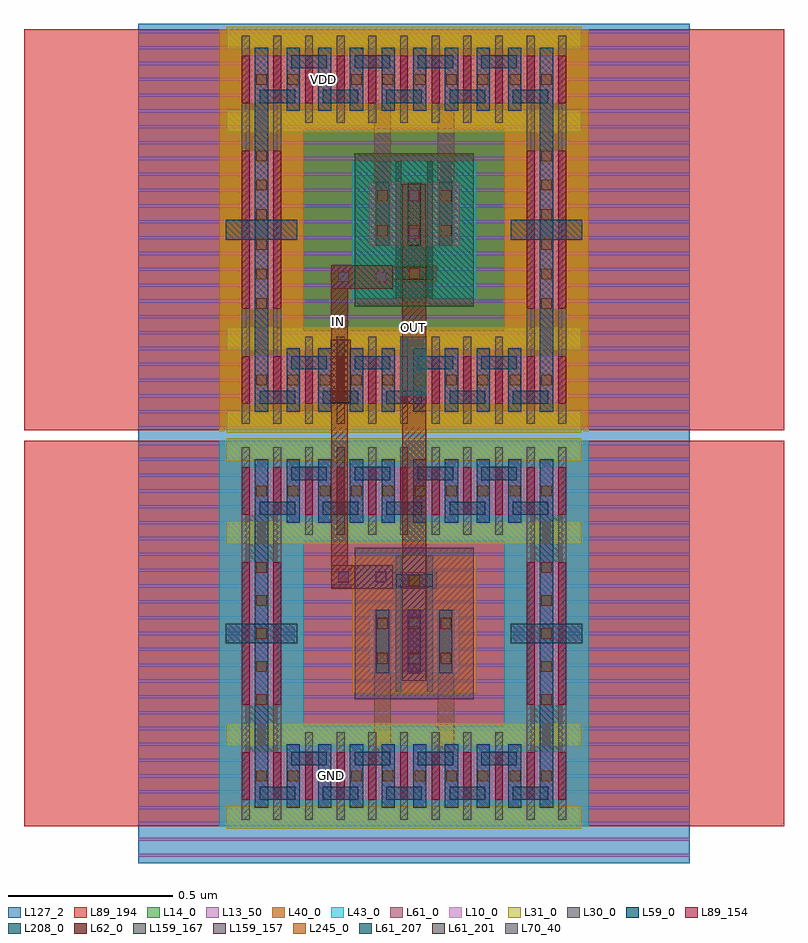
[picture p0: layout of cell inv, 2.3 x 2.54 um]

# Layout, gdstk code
from math import pi, radians
import gdstk
lib = gdstk.Library(unit=1e-6, precision=1e-09)
def R(c, l, rs):  # rectangles x0, y0, x1, y1
    for r in rs: c.add(gdstk.rectangle(r[:2], r[2:], *l))
def A(c, l, x, y, w, h, nx, ny, dx, dy):  # array of equal rectangles
    R(c, l, [(x+i*dx, y+j*dy, x+i*dx+w, y+j*dy+h) for i in range(nx) for j in range(ny)])
L10_0 = (10, 0)
L13_50 = (13, 50)
L14_0 = (14, 0)
L30_0 = (30, 0)
L31_0 = (31, 0)
L40_0 = (40, 0)
L43_0 = (43, 0)
L59_0 = (59, 0)
L61_0 = (61, 0)
L61_201 = (61, 201)
L61_207 = (61, 207)
L62_0 = (62, 0)
L70_40 = (70, 40)
L89_154 = (89, 154)
L89_194 = (89, 194)
L127_2 = (127, 2)
L159_157 = (159, 157)
L159_167 = (159, 167)
L208_0 = (208, 0)
L245_0 = (245, 0)

ngr_cdns_560242955920 = lib.new_cell('NGR_CDNS_560242955920')
R(ngr_cdns_560242955920, L10_0, [(0.768,-0.024,1.728,0.12), (0.768,0.264,0.864,0.744), (1.632,0.264,1.728,0.744), (0.768,0.888,1.728,1.032)])
A(ngr_cdns_560242955920, L13_50, 0.556, -0.101, 0.52, 0.01, 1, 26, 0, 0.048)
A(ngr_cdns_560242955920, L13_50, 0.688, -0.101, 1.12, 0.01, 1, 7, 0, 0.048)
A(ngr_cdns_560242955920, L13_50, 1.42, -0.101, 0.52, 0.01, 1, 26, 0, 0.048)
A(ngr_cdns_560242955920, L13_50, 0.688, 0.811, 1.12, 0.01, 1, 7, 0, 0.048)
R(ngr_cdns_560242955920, L14_0, [(0.688,-0.104,1.808,0.2), (0.688,-0.104,0.944,1.112), (1.552,-0.104,1.808,1.112), (0.688,0.808,1.808,1.112)])
A(ngr_cdns_560242955920, L30_0, 0.756, -0.084, 0.024, 0.264, 11, 2, 0.096, 0.912)
R(ngr_cdns_560242955920, L30_0, [(0.756,-0.024,0.78,1.032), (0.852,-0.024,0.876,1.032), (1.62,-0.024,1.644,1.032), (1.716,-0.024,1.74,1.032), (0.756,0.204,0.78,0.804), (0.852,0.204,0.876,0.804), (1.62,0.204,1.644,0.804), (1.716,0.204,1.74,0.804)])
R(ngr_cdns_560242955920, L31_0, [(0.711,-0.112,1.785,-0.044), (0.711,-0.112,0.921,-0.044), (1.575,-0.112,1.785,-0.044), (0.711,0.14,1.785,0.208), (0.711,0.8,1.785,0.868), (0.711,1.052,1.785,1.12), (0.711,1.052,0.921,1.12), (1.575,1.052,1.785,1.12)])
R(ngr_cdns_560242955920, L40_0, [(0.688,-0.104,1.808,0.2), (0.688,-0.104,0.944,1.112), (1.552,-0.104,1.808,1.112), (0.688,0.808,1.808,1.112)])
A(ngr_cdns_560242955920, L59_0, 0.796, -0.048, 0.04, 0.192, 10, 2, 0.096, 0.912)
R(ngr_cdns_560242955920, L59_0, [(0.796,-0.048,0.836,1.056), (1.66,-0.048,1.7,1.056)])
R(ngr_cdns_560242955920, L61_0, [(0.768,-0.024,1.728,0.12), (0.768,-0.024,0.864,1.032), (1.632,-0.024,1.728,1.032), (0.768,0.888,1.728,1.032)])
A(ngr_cdns_560242955920, L89_154, 0.756, -0.024, 0.024, 0.144, 11, 2, 0.096, 0.912)
R(ngr_cdns_560242955920, L89_154, [(0.756,0.264,0.78,0.744), (0.852,0.264,0.876,0.744), (1.62,0.264,1.644,0.744), (1.716,0.264,1.74,0.744)])
R(ngr_cdns_560242955920, L89_194, [(0.096,-0.104,1.536,1.112), (0.688,-0.104,1.808,0.2), (0.96,-0.104,2.4,1.112), (0.688,0.808,1.808,1.112)])
R(ngr_cdns_560242955920, L127_2, [(0.556,-0.12,1.076,1.128), (0.688,-0.12,1.808,0.216), (1.42,-0.12,1.94,1.128), (0.688,0.792,1.808,1.128)])
A(ngr_cdns_560242955920, L208_0, 0.81, -0.024, 0.108, 0.04, 5, 2, 0.192, 0.912)
A(ngr_cdns_560242955920, L208_0, 0.906, 0.081, 0.108, 0.04, 4, 2, 0.192, 0.912)
R(ngr_cdns_560242955920, L208_0, [(0.708,0.474,0.924,0.534), (1.572,0.474,1.788,0.534)])
A(ngr_cdns_560242955920, L245_0, 0.8, 0.032, 0.032, 0.032, 10, 2, 0.096, 0.912)
A(ngr_cdns_560242955920, L245_0, 0.8, 0.264, 0.032, 0.032, 1, 4, 0, 0.09)
A(ngr_cdns_560242955920, L245_0, 1.664, 0.264, 0.032, 0.032, 1, 4, 0, 0.09)
R(ngr_cdns_560242955920, L245_0, [(0.8,0.623,0.832,0.655), (1.664,0.623,1.696,0.655), (0.8,0.712,0.832,0.744), (1.664,0.712,1.696,0.744)])

n08_ckt_cdns_56024295592 = lib.new_cell('n08_ckt_CDNS_560242955921')
A(n08_ckt_cdns_56024295592, L10_0, -0.08, 0, 0.08, 0.192, 3, 1, 0.096, 0)
R(n08_ckt_cdns_56024295592, L10_0, [(0,0,0.016,0.192), (0.096,0,0.112,0.192)])
A(n08_ckt_cdns_56024295592, L13_50, -0.78, -0.125, 1.672, 0.01, 1, 12, 0, 0.048)
R(n08_ckt_cdns_56024295592, L30_0, [(0,-0.056,0.016,0), (0.096,-0.056,0.112,0), (0,0,0.016,0.192), (0.096,0,0.112,0.192), (0,0.192,0.016,0.356), (0.096,0.192,0.112,0.356)])
R(n08_ckt_cdns_56024295592, L40_0, [(-0.132,-0.061,0.244,0.356)])
A(n08_ckt_cdns_56024295592, L59_0, -0.06, 0, 0.04, 0.192, 3, 1, 0.096, 0)
A(n08_ckt_cdns_56024295592, L61_0, -0.065, 0.004, 0.05, 0.188, 3, 1, 0.096, 0)
R(n08_ckt_cdns_56024295592, L61_0, [(-0.013,0.255,0.125,0.305)])
R(n08_ckt_cdns_56024295592, L89_194, [(-0.752,-0.056,0.864,0.356)])
R(n08_ckt_cdns_56024295592, L127_2, [(-0.78,-0.144,0.892,0.432)])
R(n08_ckt_cdns_56024295592, L159_157, [(-0.125,-0.08,0.237,0.38)])
R(n08_ckt_cdns_56024295592, L208_0, [(0,0.26,0.112,0.3)])
A(n08_ckt_cdns_56024295592, L245_0, -0.056, 0.029, 0.032, 0.032, 3, 2, 0.096, 0.106)
R(n08_ckt_cdns_56024295592, L245_0, [(0.04,0.264,0.072,0.296)])
n08_ckt_cdns_56024295592.add(gdstk.Label('& Metric 1.0', (0,0), layer=63, texttype=63))
n08_ckt_cdns_56024295592.add(gdstk.Label('& SMIC 14nm Nand Flash 0.8/1.8V Cadence PDK(ON9A)', (0,0.002), layer=63, texttype=63))
n08_ckt_cdns_56024295592.add(gdstk.Label('& Vendor "Semiconductor manufacturing International Corporation."', (0,0.004), layer=63, texttype=63))

p08_ckt_cdns_56024295592 = lib.new_cell('p08_ckt_CDNS_560242955922')
A(p08_ckt_cdns_56024295592, L10_0, -0.08, 0, 0.08, 0.192, 3, 1, 0.096, 0)
R(p08_ckt_cdns_56024295592, L10_0, [(0,0,0.016,0.192), (0.096,0,0.112,0.192)])
A(p08_ckt_cdns_56024295592, L13_50, -0.78, -0.413, 1.672, 0.01, 1, 22, 0, 0.048)
R(p08_ckt_cdns_56024295592, L14_0, [(-0.384,-0.361,0.496,0.553)])
R(p08_ckt_cdns_56024295592, L30_0, [(0,-0.16,0.016,0), (0.096,-0.16,0.112,0), (0,0,0.016,0.192), (0.096,0,0.112,0.192), (0,0.192,0.016,0.256), (0.096,0.192,0.112,0.256)])
R(p08_ckt_cdns_56024295592, L43_0, [(-0.132,-0.16,0.244,0.256)])
A(p08_ckt_cdns_56024295592, L59_0, -0.06, 0, 0.04, 0.192, 3, 1, 0.096, 0)
A(p08_ckt_cdns_56024295592, L61_0, -0.065, 0.004, 0.05, 0.188, 3, 1, 0.096, 0)
R(p08_ckt_cdns_56024295592, L61_0, [(-0.013,-0.109,0.125,-0.059)])
R(p08_ckt_cdns_56024295592, L89_194, [(-0.752,-0.16,0.864,0.256)])
R(p08_ckt_cdns_56024295592, L127_2, [(-0.78,-0.432,0.892,0.624)])
R(p08_ckt_cdns_56024295592, L159_167, [(-0.125,-0.184,0.237,0.28)])
R(p08_ckt_cdns_56024295592, L208_0, [(0,-0.104,0.112,-0.064)])
A(p08_ckt_cdns_56024295592, L245_0, -0.056, 0.029, 0.032, 0.032, 3, 2, 0.096, 0.106)
R(p08_ckt_cdns_56024295592, L245_0, [(0.04,-0.1,0.072,-0.068)])
p08_ckt_cdns_56024295592.add(gdstk.Label('& Metric 1.0', (0,0), layer=63, texttype=63))
p08_ckt_cdns_56024295592.add(gdstk.Label('& SMIC 14nm Nand Flash 0.8/1.8V Cadence PDK(ON9A)', (0,0.002), layer=63, texttype=63))
p08_ckt_cdns_56024295592.add(gdstk.Label('& Vendor "Semiconductor manufacturing International Corporation."', (0,0.004), layer=63, texttype=63))

pgr_cdns_560242955923 = lib.new_cell('PGR_CDNS_560242955923')
R(pgr_cdns_560242955923, L10_0, [(0,-0.024,0.96,0.12), (0,0.264,0.096,0.696), (0.864,0.264,0.96,0.696), (0,0.84,0.96,0.984)])
A(pgr_cdns_560242955923, L13_50, -0.212, -0.101, 0.52, 0.01, 1, 25, 0, 0.048)
A(pgr_cdns_560242955923, L13_50, -0.08, -0.101, 1.12, 0.01, 1, 7, 0, 0.048)
A(pgr_cdns_560242955923, L13_50, 0.652, -0.101, 0.52, 0.01, 1, 25, 0, 0.048)
A(pgr_cdns_560242955923, L13_50, -0.08, 0.763, 1.12, 0.01, 1, 7, 0, 0.048)
A(pgr_cdns_560242955923, L30_0, -0.012, -0.084, 0.024, 0.264, 11, 2, 0.096, 0.864)
R(pgr_cdns_560242955923, L30_0, [(-0.012,-0.024,0.012,0.984), (0.084,-0.024,0.108,0.984), (0.852,-0.024,0.876,0.984), (0.948,-0.024,0.972,0.984), (-0.012,0.204,0.012,0.756), (0.084,0.204,0.108,0.756), (0.852,0.204,0.876,0.756), (0.948,0.204,0.972,0.756)])
R(pgr_cdns_560242955923, L31_0, [(-0.057,-0.112,1.017,-0.044), (-0.057,-0.112,0.153,-0.044), (0.807,-0.112,1.017,-0.044), (-0.057,0.14,1.017,0.208), (-0.057,0.752,1.017,0.82), (-0.057,1.004,1.017,1.072), (-0.057,1.004,0.153,1.072), (0.807,1.004,1.017,1.072)])
R(pgr_cdns_560242955923, L43_0, [(-0.08,-0.104,1.04,0.2), (-0.08,-0.104,0.176,1.064), (0.784,-0.104,1.04,1.064), (-0.08,0.76,1.04,1.064)])
A(pgr_cdns_560242955923, L59_0, 0.028, -0.048, 0.04, 0.192, 10, 2, 0.096, 0.864)
R(pgr_cdns_560242955923, L59_0, [(0.028,-0.048,0.068,1.008), (0.892,-0.048,0.932,1.008)])
R(pgr_cdns_560242955923, L61_0, [(0,-0.024,0.96,0.12), (0,-0.024,0.096,0.984), (0.864,-0.024,0.96,0.984), (0,0.84,0.96,0.984)])
A(pgr_cdns_560242955923, L89_154, -0.012, -0.024, 0.024, 0.144, 11, 2, 0.096, 0.864)
R(pgr_cdns_560242955923, L89_154, [(-0.012,0.264,0.012,0.696), (0.084,0.264,0.108,0.696), (0.852,0.264,0.876,0.696), (0.948,0.264,0.972,0.696)])
R(pgr_cdns_560242955923, L89_194, [(-0.672,-0.104,0.768,1.064), (-0.08,-0.104,1.04,0.2), (0.192,-0.104,1.632,1.064), (-0.08,0.76,1.04,1.064)])
R(pgr_cdns_560242955923, L127_2, [(-0.212,-0.12,0.308,1.08), (-0.08,-0.12,1.04,0.216), (0.652,-0.12,1.172,1.08), (-0.08,0.744,1.04,1.08)])
A(pgr_cdns_560242955923, L208_0, 0.042, -0.024, 0.108, 0.04, 5, 2, 0.192, 0.864)
A(pgr_cdns_560242955923, L208_0, 0.138, 0.081, 0.108, 0.04, 4, 2, 0.192, 0.864)
R(pgr_cdns_560242955923, L208_0, [(-0.06,0.45,0.156,0.51), (0.804,0.45,1.02,0.51)])
A(pgr_cdns_560242955923, L245_0, 0.032, 0.032, 0.032, 0.032, 10, 2, 0.096, 0.864)
A(pgr_cdns_560242955923, L245_0, 0.032, 0.264, 0.032, 0.032, 1, 5, 0, 0.1)
A(pgr_cdns_560242955923, L245_0, 0.896, 0.264, 0.032, 0.032, 1, 5, 0, 0.1)

m2_m1_cdns_560242955920 = lib.new_cell('M2_M1_CDNS_560242955920')
R(m2_m1_cdns_560242955920, L61_0, [(-0.093,-0.036,0.093,0.036)])
R(m2_m1_cdns_560242955920, L62_0, [(-0.093,-0.036,0.093,0.036)])
R(m2_m1_cdns_560242955920, L70_40, [(-0.073,-0.016,-0.041,0.016), (0.041,-0.016,0.073,0.016)])

m2_m1_cdns_560242955921 = lib.new_cell('M2_M1_CDNS_560242955921')
R(m2_m1_cdns_560242955921, L61_0, [(-0.036,-0.093,0.036,0.093)])
R(m2_m1_cdns_560242955921, L62_0, [(-0.036,-0.123,0.036,0.093)])
R(m2_m1_cdns_560242955921, L70_40, [(-0.016,-0.073,0.016,-0.041), (-0.016,0.041,0.016,0.073)])

inv = lib.new_cell('inv')
A(inv, L13_50, -0.113, -0.077, 1.672, 0.01, 1, 53, 0, 0.048)
R(inv, L14_0, [(0.132,1.216,1.252,2.432)])
R(inv, L61_201, [(0.47,1.3,0.53,1.49)])
R(inv, L61_207, [(0.68,1.32,0.76,1.5)])
R(inv, L127_2, [(-0.113,-0.096,1.559,2.448)])
inv.add(gdstk.FlexPath([(0.627,0.159),(0.627,0.608)], 0.05, ends="flush", simple_path=True, layer=61, datatype=0))  # L61_0
inv.add(gdstk.FlexPath([(0.819,0.159),(0.819,0.608)], 0.05, ends="flush", simple_path=True, layer=61, datatype=0))  # L61_0
inv.add(gdstk.FlexPath([(0.627,1.858),(0.627,2.257)], 0.05, ends="flush", simple_path=True, layer=61, datatype=0))  # L61_0
inv.add(gdstk.FlexPath([(0.819,1.858),(0.819,2.257)], 0.05, ends="flush", simple_path=True, layer=61, datatype=0))  # L61_0
inv.add(gdstk.FlexPath([(0.723,1.863),(0.723,0.559)], 0.072, ends="flush", simple_path=True, layer=62, datatype=0))  # L62_0
inv.add(gdstk.FlexPath([(0.497,1.707),(0.497,0.739)], 0.05, ends="flush", simple_path=True, layer=62, datatype=0))  # L62_0
inv.add(gdstk.Reference(ngr_cdns_560242955920, (-0.556,1.32)))
inv.add(gdstk.Reference(n08_ckt_cdns_56024295592, (0.667,0.48)))
inv.add(gdstk.Reference(p08_ckt_cdns_56024295592, (0.667,1.776)))
inv.add(gdstk.Reference(pgr_cdns_560242955923, (0.212,0.12)))
inv.add(gdstk.Reference(m2_m1_cdns_560242955920, (0.722,1.87), rotation=pi/2))
inv.add(gdstk.Reference(m2_m1_cdns_560242955920, (0.565,1.681)))
inv.add(gdstk.Reference(m2_m1_cdns_560242955920, (0.565,0.771)))
inv.add(gdstk.Reference(m2_m1_cdns_560242955921, (0.723,0.579)))
inv.add(gdstk.Label('OUT', (0.722,1.529), layer=62, texttype=250))
inv.add(gdstk.Label('IN', (0.494,1.547), layer=62, texttype=250))
inv.add(gdstk.Label('GND', (0.473,0.17), layer=61, texttype=250))
inv.add(gdstk.Label('VDD', (0.449,2.281), layer=61, texttype=250))

lib.write_gds('inv.gds')
